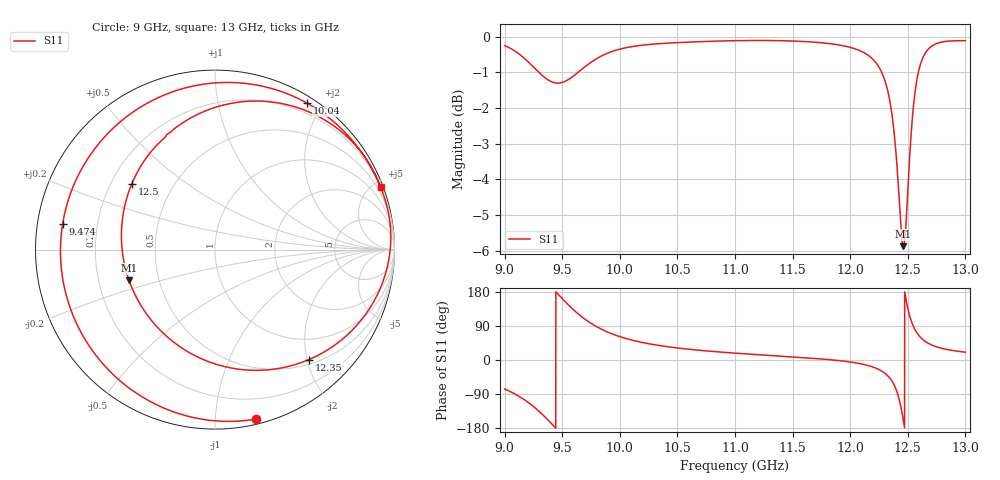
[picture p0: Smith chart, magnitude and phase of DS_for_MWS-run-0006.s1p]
! TOUCHSTONE file generated by CST DESIGN STUDIO
! Date and time: Tue Feb  4 18:45:11 2025
! Project name: C:\Work\MatlabApps\UnitCellOptimizationMatlab\CST\unitcell.cst
! Tree item: Tasks\Sweep1\SPara1\S-Parameters
! Header version: 2024
! Port assignment regex: !\s*Touchstone port\s*([0-9]+)\s*=\s*(CST MWS port|CST DES external port|CST DES block port)\s*(.+)\s* \(\"(.*)\"\)(\s*mode\s*([0-9]+))?.*
! Touchstone port assignment:
! Touchstone port 1 = CST DES external port 1 ("")
# GHz S MA R 50
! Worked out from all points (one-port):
!   4001 points, 9 GHz to 13 GHz, reference 50 ohm
!   lowest |S11| = -5.9 dB at 12.46 GHz (marker M1), VSWR 3.07, Z = 16.7 - j7.67 ohm
!   |S11| at or under -10 dB: nowhere
!   S11 on the Smith chart (normalised r, x): 9 GHz: 0.04, -1.27; 9.474 GHz: 0.08, +0.08; 10.04 GHz: 0.08, +1.81; 12.35 GHz: 0.58, -2.04; 12.5 GHz: 0.29, +0.32; 13 GHz: 0.21, +5.48
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9  0.9713 -76.5
9.136  0.9426 -97.8
9.244  0.9088 -121.1
9.372  0.8707 -156.8
9.474  0.8609 170.4
9.5  0.8625 162.1
9.605  0.8824 130.6
9.708  0.91 105.3
9.853  0.9415 79.4
10  0.9604 61.7
10.042  0.964 57.7
10.5  0.9808 31.7
11  0.9869 18.1
11.5  0.9859 8.2
12  0.9659 -5.3
12.232  0.9153 -22.7
12.348  0.8061 -49.4
12.414  0.6317 -91.4
12.438  0.5501 -120.6
12.462  0.5086 -160.5
12.496  0.5906 141.8
12.5  0.6076 136.1
12.528  0.7254 105.1
12.558  0.824 82.7
12.606  0.9103 61.2
12.663  0.9541 46.8
12.786  0.9818 31.5
13  0.9868 20.7
